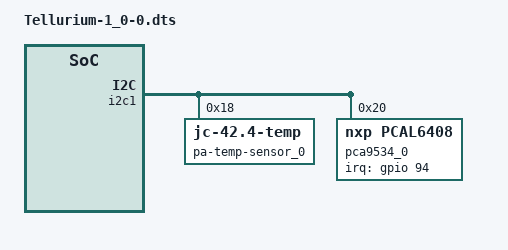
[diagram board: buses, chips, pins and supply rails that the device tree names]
/dts-v1/;
/plugin/;


/ {
    fragment@0 {
        target = <&i2c1>;
        __overlay__ {
            pa-temp-sensor_0@18 {
                compatible = "jedec,jc-42.4-temp";
                reg = <0x18>;
            };


            pca9534_0@20 {
                compatible = "nxp,pcal6408";
                reg = <0x20>;
                gpio-controller;
                #gpio-cells = <2>;
                interrupt-parent = <&gpio>;
                interrupts = <94 8>; /* IRQ_TYPE_LEVEL_LOW IRQ_TYPE_EDGE_FALLING */
                gpio-line-names = "C_RX_HPF_SEL3", "C_TX_PWR_LV_0", "C_TX_PWR_LV_1", "C_TX_FILT_SEL1", "C_TX_FILT_SEL2", "C_TX_FILT_SEL3", "C_TX_PA2_OVTMPn", "C_PA_ENAB";
            };
        };
    };

    
};
